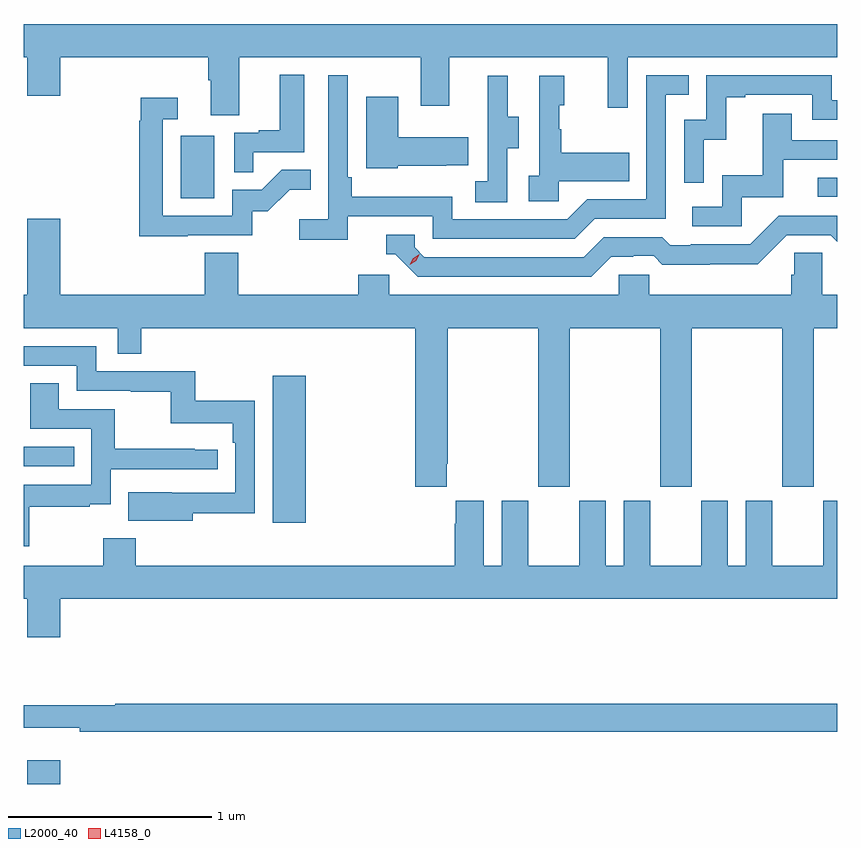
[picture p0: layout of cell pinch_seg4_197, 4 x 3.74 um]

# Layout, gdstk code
import gdstk
lib = gdstk.Library(unit=1e-6, precision=1e-09)
def R(c, l, rs):  # rectangles x0, y0, x1, y1
    for r in rs: c.add(gdstk.rectangle(r[:2], r[2:], *l))
def P(c, l, *ps):  # polygons
    for p in ps: c.add(gdstk.Polygon(p, *l))
L2000_40 = (2000, 40)
L4158_0 = (4158, 0)

pinch_seg4_197 = lib.new_cell('pinch_seg4_197')
R(pinch_seg4_197, L2000_40, [(980.192,815.89,980.356,816.007), (981.401,817.176,981.562,817.897), (980.176,817.452,980.423,817.548), (980.948,818.772,981.112,819.079), (984.081,818.778,984.176,818.871)])
P(pinch_seg4_197, L2000_40, [(981.235,819.464),(982.127,819.464),(982.127,819.225),(982.267,819.225),(982.267,819.464),(983.048,819.464),(983.048,819.216),(983.145,819.216),(983.145,819.464),(984.176,819.464),(984.176,819.628),(980.176,819.628),(980.176,819.464),(980.192,819.464),(980.192,819.276),(980.356,819.276),(980.356,819.464),(981.083,819.464),(981.083,819.352),(981.095,819.352),(981.095,819.178),(981.235,819.178)],
  [(981.305,818.997),(981.556,818.997),(981.556,819.379),(981.434,819.379),(981.434,819.106),(981.331,819.106),(981.331,819.093),(981.21,819.093),(981.21,818.899),(981.305,818.899)],
  [(981.77,818.682),(982.188,818.682),(982.188,818.571),(982.885,818.571),(982.984,818.67),(983.334,818.67),(983.334,819.279),(983.447,819.279),(983.447,819.375),(983.238,819.375),(983.238,818.766),(982.947,818.766),(982.848,818.667),(982.284,818.667),(982.284,818.779),(981.788,818.779),(981.788,818.875),(981.768,818.875),(981.768,819.376),(981.672,819.376),(981.672,818.668),(981.531,818.668),(981.531,818.566),(981.77,818.566)],
  [(983.52,819.059),(983.63,819.059),(983.63,819.267),(983.725,819.267),(983.725,819.279),(984.054,819.279),(984.054,819.156),(984.176,819.156),(984.176,819.252),(984.15,819.252),(984.15,819.375),(983.532,819.375),(983.532,819.156),(983.424,819.156),(983.424,818.847),(983.52,818.847)],
  [(982.806,818.855),(983.153,818.855),(983.153,818.995),(982.819,818.995),(982.819,819.11),(982.809,819.11),(982.809,819.228),(982.834,819.228),(982.834,819.373),(982.71,819.373),(982.71,818.882),(982.659,818.882),(982.659,818.757),(982.806,818.757)],
  [(982.554,819.016),(982.609,819.016),(982.609,819.171),(982.555,819.171),(982.555,819.373),(982.457,819.373),(982.457,819.159),(982.458,819.159),(982.458,818.855),(982.395,818.855),(982.395,818.752),(982.554,818.752)],
  [(982.014,818.93),(982.253,818.93),(982.253,818.933),(982.361,818.933),(982.361,819.07),(982.018,819.07),(982.018,819.271),(981.86,819.271),(981.86,818.918),(982.014,818.918)],
  [(980.981,818.589),(981.3,818.589),(981.3,818.706),(981.376,818.706),(981.483,818.813),(981.587,818.813),(981.587,818.912),(981.444,818.912),(981.346,818.814),(981.201,818.814),(981.201,818.685),(980.859,818.685),(980.859,819.159),(980.932,819.159),(980.932,819.265),(980.751,819.265),(980.751,819.152),(980.743,819.152),(980.743,818.584),(980.981,818.584)],
  [(983.706,818.775),(983.911,818.775),(983.911,818.961),(984.176,818.961),(984.176,819.057),(983.953,819.057),(983.953,819.187),(983.809,819.187),(983.809,818.884),(983.61,818.884),(983.61,818.73),(983.463,818.73),(983.463,818.634),(983.706,818.634)],
  [(983.065,818.484),(983.172,818.484),(983.172,818.487),(983.275,818.487),(983.317,818.445),(983.55,818.445),(983.55,818.447),(983.786,818.447),(983.928,818.589),(984.144,818.589),(984.176,818.557),(984.176,818.685),(983.889,818.685),(983.748,818.544),(983.455,818.544),(983.455,818.541),(983.356,818.541),(983.317,818.58),(983.028,818.58),(982.929,818.481),(982.146,818.481),(982.098,818.529),(982.098,818.592),(981.959,818.592),(981.959,818.496),(982.002,818.496),(982.113,818.385),(982.966,818.385)],
  [(982.255,817.465),(982.26,817.465),(982.26,818.132),(982.705,818.132),(982.705,817.353),(982.86,817.353),(982.86,818.132),(983.305,818.132),(983.305,817.353),(983.46,817.353),(983.46,818.132),(983.905,818.132),(983.905,817.353),(984.06,817.353),(984.06,818.132),(984.176,818.132),(984.176,818.296),(984.102,818.296),(984.102,818.504),(983.965,818.504),(983.965,818.394),(983.951,818.394),(983.951,818.296),(983.253,818.296),(983.253,818.394),(983.103,818.394),(983.103,818.296),(981.972,818.296),(981.972,818.394),(981.821,818.394),(981.821,818.296),(981.23,818.296),(981.23,818.504),(981.065,818.504),(981.065,818.296),(980.356,818.296),(980.356,818.671),(980.192,818.671),(980.192,818.296),(980.176,818.296),(980.176,818.132),(980.637,818.132),(980.637,818.005),(980.753,818.005),(980.753,818.132),(982.1,818.132),(982.1,817.353),(982.255,817.353)],
  [(981.007,817.222),(981.312,817.222),(981.312,817.774),(981.019,817.774),(981.019,817.92),(980.532,817.92),(980.532,818.043),(980.176,818.043),(980.176,817.947),(980.436,817.947),(980.436,817.824),(980.701,817.824),(980.701,817.819),(980.898,817.819),(980.898,817.664),(981.203,817.664),(981.203,817.568),(981.216,817.568),(981.216,817.323),(980.903,817.323),(980.903,817.324),(980.689,817.324),(980.689,817.184),(981.007,817.184)],
  [(980.203,817.254),(980.501,817.254),(980.501,817.265),(980.604,817.265),(980.604,817.437),(981.13,817.437),(981.13,817.533),(981.017,817.533),(981.017,817.538),(980.624,817.538),(980.624,817.734),(980.347,817.734),(980.347,817.862),(980.207,817.862),(980.207,817.638),(980.508,817.638),(980.508,817.362),(980.176,817.362),(980.176,817.059),(980.203,817.059)],
  [(980.356,816.8),(984.176,816.8),(984.176,817.282),(984.107,817.282),(984.107,816.964),(983.857,816.964),(983.857,817.282),(983.726,817.282),(983.726,816.964),(983.638,816.964),(983.638,817.282),(983.507,817.282),(983.507,816.964),(983.257,816.964),(983.257,817.282),(983.126,817.282),(983.126,816.964),(983.038,816.964),(983.038,817.282),(982.907,817.282),(982.907,816.964),(982.657,816.964),(982.657,817.282),(982.526,817.282),(982.526,816.964),(982.438,816.964),(982.438,817.282),(982.301,817.282),(982.301,817.169),(982.295,817.169),(982.295,816.964),(980.726,816.964),(980.726,817.099),(980.566,817.099),(980.566,816.964),(980.176,816.964),(980.176,816.8),(980.192,816.8),(980.192,816.612),(980.356,816.612)],
  [(984.176,816.284),(980.626,816.284),(980.626,816.277),(980.176,816.277),(980.176,816.167),(980.452,816.167),(980.452,816.148),(984.176,816.148)])
P(pinch_seg4_197, L4158_0, [(982.074,818.444),(982.074,818.444),(982.09,818.476),(982.121,818.496),(982.121,818.496),(982.121,818.496),(982.105,818.463),(982.074,818.444)])

lib.write_gds('pinch_seg4_197.gds')
